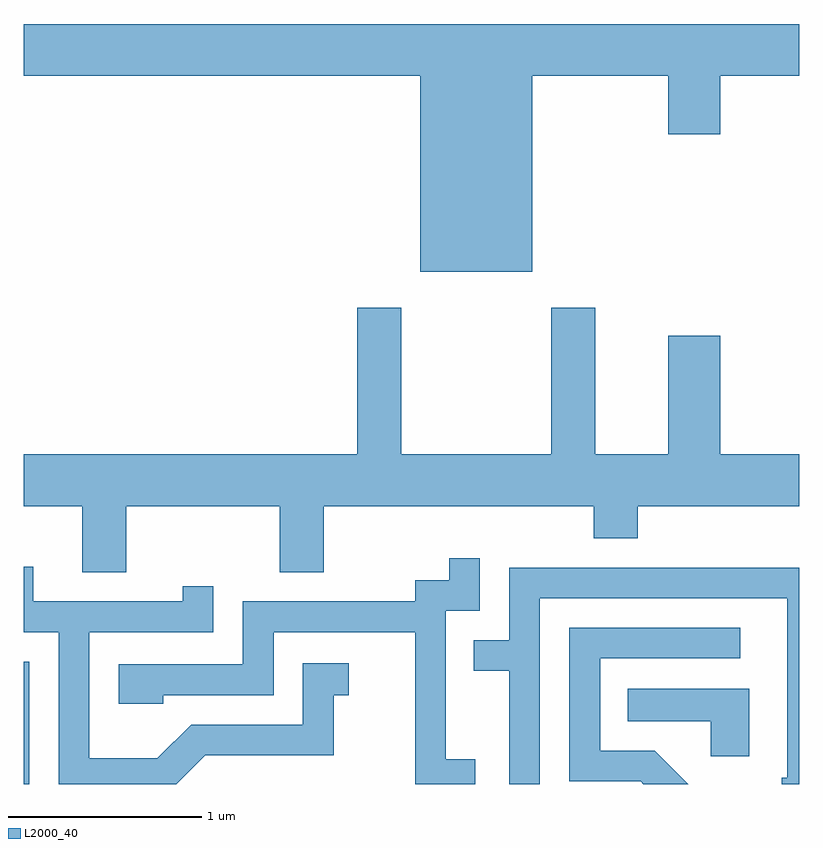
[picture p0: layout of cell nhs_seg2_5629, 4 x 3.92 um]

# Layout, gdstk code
import gdstk
lib = gdstk.Library(unit=1e-6, precision=1e-09)
def R(c, l, rs):  # rectangles x0, y0, x1, y1
    for r in rs: c.add(gdstk.rectangle(r[:2], r[2:], *l))
def P(c, l, *ps):  # polygons
    for p in ps: c.add(gdstk.Polygon(p, *l))
L2000_40 = (2000, 40)

nhs_seg2_5629 = lib.new_cell('nhs_seg2_5629')
R(nhs_seg2_5629, L2000_40, [(351.611,1015.802,351.639,1016.434)])
P(nhs_seg2_5629, L2000_40, [(354.234,1019.456),(354.936,1019.456),(354.936,1019.156),(355.204,1019.156),(355.204,1019.456),(355.611,1019.456),(355.611,1019.724),(351.611,1019.724),(351.611,1019.456),(353.656,1019.456),(353.656,1018.446),(354.234,1018.446)],
  [(352.139,1017.236),(352.931,1017.236),(352.931,1016.896),(353.159,1016.896),(353.159,1017.236),(354.551,1017.236),(354.551,1017.071),(354.779,1017.071),(354.779,1017.236),(355.611,1017.236),(355.611,1017.504),(355.204,1017.504),(355.204,1018.114),(354.936,1018.114),(354.936,1017.504),(354.559,1017.504),(354.559,1018.259),(354.331,1018.259),(354.331,1017.504),(353.559,1017.504),(353.559,1018.259),(353.331,1018.259),(353.331,1017.504),(351.611,1017.504),(351.611,1017.236),(351.911,1017.236),(351.911,1016.896),(352.139,1016.896)],
  [(353.939,1015.929),(353.789,1015.929),(353.789,1016.696),(353.964,1016.696),(353.964,1016.968),(353.806,1016.968),(353.806,1016.854),(353.631,1016.854),(353.631,1016.744),(352.741,1016.744),(352.741,1016.419),(352.101,1016.419),(352.101,1016.216),(352.329,1016.216),(352.329,1016.261),(352.899,1016.261),(352.899,1016.586),(353.631,1016.586),(353.631,1015.802),(353.939,1015.802)],
  [(352.547,1015.951),(353.209,1015.951),(353.209,1016.261),(353.288,1016.261),(353.288,1016.424),(353.051,1016.424),(353.051,1016.109),(352.474,1016.109),(352.299,1015.934),(351.949,1015.934),(351.949,1016.586),(352.589,1016.586),(352.589,1016.823),(352.431,1016.823),(352.431,1016.744),(351.659,1016.744),(351.659,1016.923),(351.611,1016.923),(351.611,1016.586),(351.791,1016.586),(351.791,1015.802),(352.398,1015.802)],
  [(354.274,1016.761),(355.551,1016.761),(355.551,1015.834),(355.521,1015.834),(355.521,1015.802),(355.611,1015.802),(355.611,1016.919),(354.116,1016.919),(354.116,1016.544),(353.933,1016.544),(353.933,1016.386),(354.116,1016.386),(354.116,1015.802),(354.274,1015.802)],
  [(354.867,1015.974),(354.584,1015.974),(354.584,1016.451),(355.308,1016.451),(355.308,1016.609),(354.426,1016.609),(354.426,1015.816),(354.794,1015.816),(354.808,1015.802),(355.039,1015.802)],
  [(355.354,1016.294),(354.728,1016.294),(354.728,1016.126),(355.156,1016.126),(355.156,1015.946),(355.354,1015.946)])

lib.write_gds('nhs_seg2_5629.gds')
